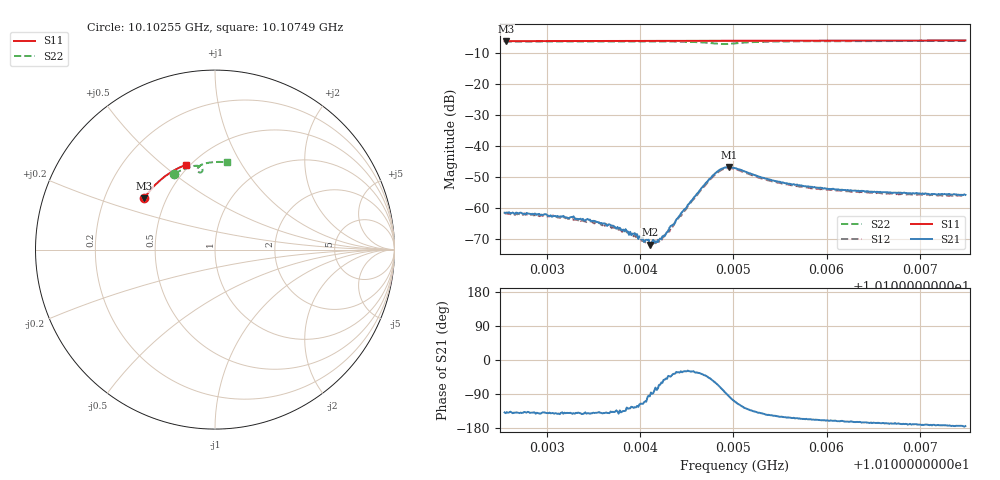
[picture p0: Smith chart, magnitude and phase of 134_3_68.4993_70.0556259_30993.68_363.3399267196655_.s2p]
#  HZ  S  RI  R  50.00
! Rohde & Schwarz Vector Network Analyzer
! Rohde-Schwarz,ZNB20-2Port,1311601062101988,3.16
! Created: UTC 3/20/2024, 5:09:45 PM
! freq[Hz]  re:S11  im:S11  re:S21  im:S21  re:S12  im:S12  re:S22  im:S22
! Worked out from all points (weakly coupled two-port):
!   401 points, 10.10255 GHz to 10.10749 GHz, reference 50 ohm
!   highest |S21| = -46.87 dB at 10.10496 GHz (marker M1); lowest = -71.9 dB at 10.1041 GHz (marker M2)
!   lowest |S11| = -6.3 dB at 10.10256 GHz (marker M3), VSWR 2.89, Z = 18.9 + j14.2 ohm
!   |S11| at or under -10 dB: nowhere
!   |S22| runs from -7.2 to -6.2 dB; largest |S21 - S12| = 0.00045
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1.0102547e10  -0.3936 0.2861  -0.00062 -0.000554  -0.000559 -0.000599  -0.226 0.4221
1.010256e10  -0.3931 0.2866  -0.000636 -0.000528  -0.000563 -0.000572  -0.2252 0.4226
1.0103066e10  -0.3754 0.312  -0.000558 -0.00047  -0.000561 -0.000501  -0.1957 0.4385
1.0103375e10  -0.3637 0.3267  -0.000511 -0.00039  -0.000446 -0.000449  -0.1769 0.4474
1.0103548e10  -0.3571 0.3347  -0.000442 -0.00039  -0.000399 -0.00039  -0.166 0.4518
1.0103734e10  -0.3496 0.3434  -0.000347 -0.000334  -0.000338 -0.000336  -0.154 0.4562
1.0103907e10  -0.3425 0.351  -0.000199 -0.000301  -0.000193 -0.000311  -0.1421 0.4601
1.0103944e10  -0.341 0.3529  -0.00022 -0.00032  -0.000161 -0.000317  -0.1394 0.4609
1.0104042e10  -0.3369 0.3571  -0.000105 -0.000262  -8.21e-05 -0.000272  -0.1325 0.4629
1.0104104e10  -0.3342 0.3597  -2.65e-05 -0.000253  -3.71e-06 -0.00024  -0.1279 0.4641
1.0104129e10  -0.3331 0.3608  4.27e-06 -0.000282  1.73e-05 -0.000279  -0.1259 0.4644
1.0104203e10  -0.3301 0.3641  0.000128 -0.000283  0.000126 -0.000252  -0.1202 0.4655
1.0104277e10  -0.3268 0.3671  0.000249 -0.000285  0.000262 -0.00026  -0.1142 0.4663
1.010445e10  -0.3191 0.3744  0.000714 -0.000453  0.000703 -0.000335  -0.0987 0.467
1.0104759e10  -0.3051 0.3867  0.00194 -0.00231  0.00209 -0.00205  -0.0694 0.4476
1.0104858e10  -0.3004 0.3906  0.00129 -0.00391  0.0016 -0.00362  -0.0739 0.4327
1.0104957e10  -0.296 0.3942  -0.000514 -0.00451  -8.97e-05 -0.00436  -0.0896 0.431
1.0105019e10  -0.2932 0.3967  -0.00149 -0.00408  -0.00108 -0.00408  -0.096 0.4381
1.0105426e10  -0.2737 0.4118  -0.0023 -0.00151  -0.00208 -0.00162  -0.074 0.4734
1.0105846e10  -0.2527 0.4265  -0.00201 -0.000832  -0.0018 -0.000987  -0.0424 0.4829
1.0106674e10  -0.2094 0.4513  -0.00173 -0.000356  -0.00158 -0.000532  0.0141 0.4885
1.010749e10  -0.1642 0.4713  -0.0016 -0.000157  -0.00154 -0.000301  0.0673 0.4863
